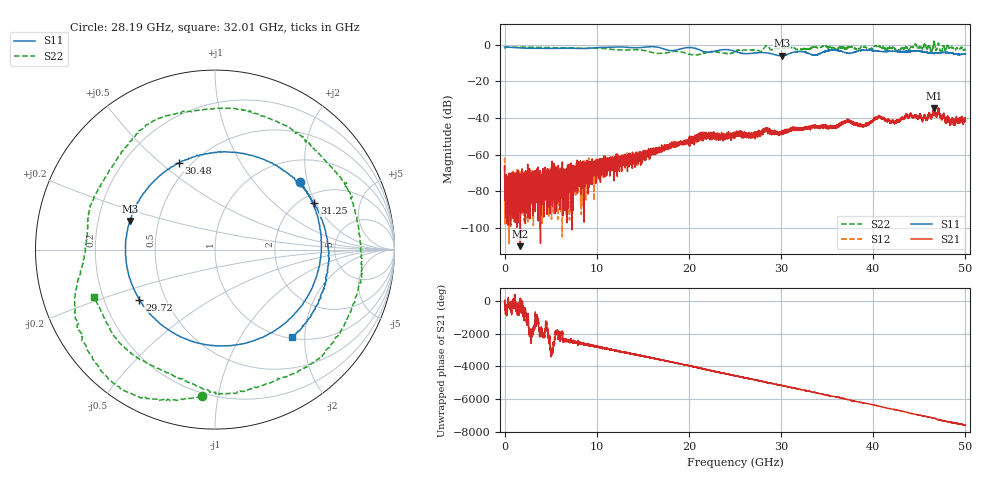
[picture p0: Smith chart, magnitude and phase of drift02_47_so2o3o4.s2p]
!Created with skrf (http://scikit-rf.org).
# Hz S RI R 50.0
!freq ReS11 ImS11 ReS21 ImS21 ReS12 ImS12 ReS22 ImS22
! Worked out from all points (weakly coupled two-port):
!   10001 points, 300 kHz to 50 GHz, reference 50 ohm
!   highest |S21| = -34.48 dB at 46.6 GHz (marker M1); lowest = -109.9 dB at 1.705 GHz (marker M2)
!   lowest |S11| = -6.1 dB at 30.11 GHz (marker M3), VSWR 2.98, Z = 17.2 + j7.27 ohm
!   |S11| at or under -10 dB: nowhere
!   |S22| runs from -5.7 to 2.3 dB; largest |S21 - S12| = 0.0029
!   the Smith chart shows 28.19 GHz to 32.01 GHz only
!   S11 on the Smith chart (normalised r, x): 28.19 GHz: 1.50, +1.80; 29.72 GHz: 0.35, -0.27; 30.48 GHz: 0.43, +0.58; 31.25 GHz: 2.36, +1.94; 32.01 GHz: 1.03, -1.74
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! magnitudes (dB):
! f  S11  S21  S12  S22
! 300 kHz  -1.3  -65.9  -61.6  -2.0
! 255.3 MHz  -1.4  -74.6  -76.8  -1.4
! 1.705 GHz  -1.8  -109.9  -77.9  -1.4
! 4.705 GHz  -2.1  -67.6  -71.1  -1.6
! 8.335 GHz  -2.2  -65.8  -68.5  -1.9
! 16.67 GHz  -1.5  -57.8  -57.6  -4.7
! 21.63 GHz  -3.8  -49.8  -48.9  -4.7
! 25 GHz  -3.7  -49.2  -49.3  -3.9
! 28.19 GHz  -4.4  -47.1  -46.7  -1.7
! 29.72 GHz  -5.9  -48.4  -48.6  -2.1
! 30.11 GHz  -6.1  -48.2  -48.2  -2.0
! 30.48 GHz  -5.6  -46.9  -47.0  -1.8
! 31.25 GHz  -4.3  -46.1  -45.6  -1.9
! 32.01 GHz  -3.7  -46.5  -46.2  -2.8
! 33.34 GHz  -5.5  -45.1  -44.4  -1.6
! 37.28 GHz  -4.7  -40.7  -41.2  -1.4
! 38.91 GHz  -3.0  -44.5  -44.2  -1.4
! 40.58 GHz  -3.6  -38.9  -39.4  -1.0
! 41.67 GHz  -3.6  -41.4  -41.4  -1.9
! 46.6 GHz  -4.7  -34.5  -35.2  1.9
! 48.52 GHz  -4.7  -40.4  -41.3  -1.6
! 50 GHz  -4.9  -41.0  -39.7  -2.7
